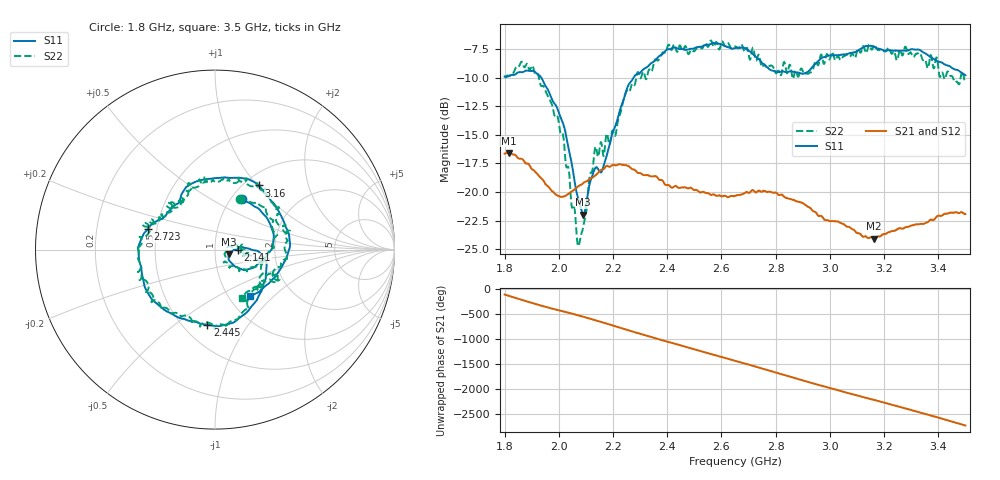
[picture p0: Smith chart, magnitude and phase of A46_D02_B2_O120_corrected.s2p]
! Created with skrf 1.9.0 (http://scikit-rf.org).
# Hz S RI R 50.0
!freq ReS11 ImS11 ReS21 ImS21 ReS12 ImS12 ReS22 ImS22
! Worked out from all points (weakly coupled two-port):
!   1601 points, 1.8 GHz to 3.5 GHz, reference 50 ohm
!   highest |S21| = -16.58 dB at 1.816 GHz (marker M1); lowest = -24.1 dB at 3.163 GHz (marker M2)
!   lowest |S11| = -22.0 dB at 2.09 GHz (marker M3), VSWR 1.17, Z = 58.1 - j3 ohm
!   |S11| at or under -10 dB: 1.935 GHz to 2.276 GHz (341.1 MHz wide, 16.2 % of centre)
!   |S22| runs from -24.7 to -6.8 dB; largest |S21 - S12| = 0.0025
!   S11 on the Smith chart (normalised r, x): 1.8 GHz: 1.12, +0.70; 2.141 GHz: 1.29, -0.01; 2.445 GHz: 0.65, -0.66; 2.723 GHz: 0.44, +0.12; 3.16 GHz: 1.16, +1.02; 3.5 GHz: 1.25, -0.72
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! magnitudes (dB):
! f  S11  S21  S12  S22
! 1.8 GHz  -9.9  -16.7  -16.7  -10.0
! 1.816 GHz  -9.9  -16.6  -16.6  -9.9
! 1.902 GHz  -9.4  -18.0  -18.0  -9.0
! 1.967 GHz  -11.4  -19.7  -19.7  -12.0
! 2.014 GHz  -13.9  -20.4  -20.4  -14.9
! 2.071 GHz  -20.5  -19.5  -19.5  -24.7
! 2.084 GHz  -21.6  -19.4  -19.3  -23.6
! 2.09 GHz  -22.0  -19.2  -19.3  -23.0
! 2.141 GHz  -17.9  -18.4  -18.4  -16.6
! 2.162 GHz  -18.0  -18.0  -18.0  -16.6
! 2.209 GHz  -14.2  -17.7  -17.6  -15.0
! 2.259 GHz  -10.6  -17.8  -17.8  -11.3
! 2.367 GHz  -8.2  -18.9  -18.8  -8.5
! 2.445 GHz  -7.5  -19.6  -19.6  -7.2
! 2.65 GHz  -7.4  -20.3  -20.3  -7.3
! 2.723 GHz  -8.1  -20.0  -19.9  -8.2
! 2.805 GHz  -9.5  -20.1  -20.2  -9.5
! 2.934 GHz  -9.1  -21.6  -21.6  -9.5
! 3.16 GHz  -7.3  -24.1  -24.0  -7.3
! 3.163 GHz  -7.3  -24.1  -24.0  -7.2
! 3.217 GHz  -7.6  -23.5  -23.5  -7.4
! 3.5 GHz  -9.8  -21.9  -21.9  -10.3
